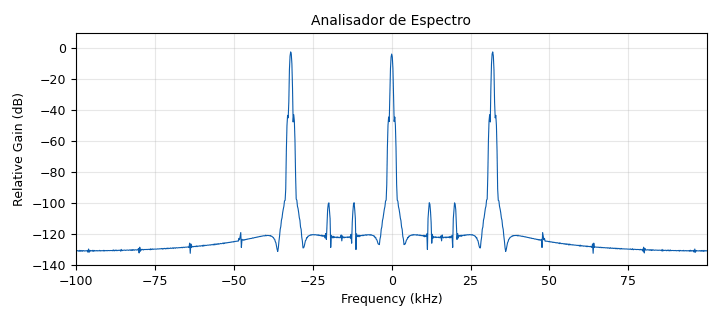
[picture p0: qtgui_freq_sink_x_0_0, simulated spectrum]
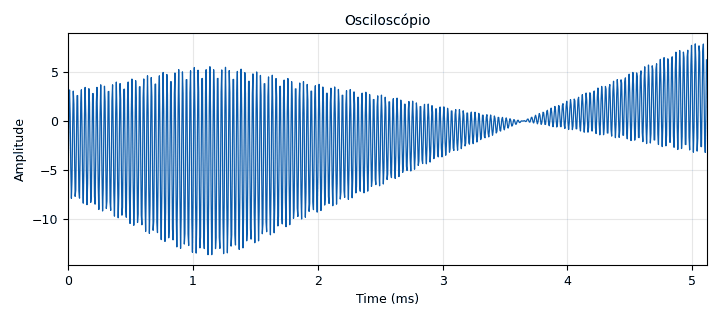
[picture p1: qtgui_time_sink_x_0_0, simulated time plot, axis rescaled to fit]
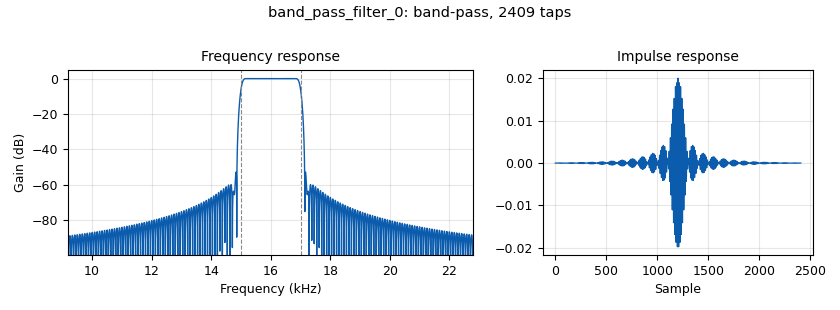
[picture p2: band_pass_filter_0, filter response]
options:
  parameters:
    author: Pedro Dornelas
    generate_options: qt_gui
    id: m180108140_Exp01_AR03
    output_language: python
    title: AR03
  states: {}

blocks:
- name: samp_rate
  id: variable
  parameters:
    value: '200000'
  states: {}
- name: analog_sig_source_x_0
  id: analog_sig_source_x
  parameters:
    amp: '5'
    freq: '6000'
    offset: '0'
    phase: '0'
    samp_rate: samp_rate
    type: float
    waveform: analog.GR_COS_WAVE
  states: {}
- name: analog_sig_source_x_1
  id: analog_sig_source_x
  parameters:
    amp: '2'
    freq: '10000'
    offset: '0'
    phase: '0'
    samp_rate: samp_rate
    type: float
    waveform: analog.GR_COS_WAVE
  states: {}
- name: analog_sig_source_x_1_0
  id: analog_sig_source_x
  parameters:
    amp: '4'
    freq: '16000'
    offset: '0'
    phase: '0'
    samp_rate: samp_rate
    type: float
    waveform: analog.GR_COS_WAVE
  states: {}
- name: analog_sig_source_x_2
  id: analog_sig_source_x
  parameters:
    amp: '2'
    freq: '100'
    offset: '-1'
    phase: '0'
    samp_rate: samp_rate
    type: float
    waveform: analog.GR_TRI_WAVE
  states: {}
- name: band_pass_filter_0
  id: band_pass_filter
  parameters:
    decim: '1'
    gain: '1'
    high_cutoff_freq: '17000'
    low_cutoff_freq: '15000'
    samp_rate: samp_rate
    type: fir_filter_fff
    width: '200'
    win: firdes.WIN_HAMMING
  states: {}
- name: blocks_multiply_xx_0
  id: blocks_multiply_xx
  parameters:
    type: float
  states: {}
- name: blocks_multiply_xx_0_0
  id: blocks_multiply_xx
  parameters:
    type: float
  states: {}
- name: blocks_multiply_xx_0_0_0
  id: blocks_multiply_xx
  parameters:
    type: float
  states: {}
- name: blocks_multiply_xx_0_0_0_0
  id: blocks_multiply_xx
  parameters:
    type: float
  states: {}
- name: blocks_rms_xx_0_0
  id: blocks_rms_xx
  parameters:
    alpha: '0.0001'
    type: float
  states: {}
- name: blocks_throttle_0
  id: blocks_throttle
  parameters:
    samples_per_second: samp_rate
    type: float
  states: {}
- name: blocks_throttle_0_0
  id: blocks_throttle
  parameters:
    samples_per_second: samp_rate
    type: float
  states: {}
- name: blocks_throttle_0_0_0
  id: blocks_throttle
  parameters:
    samples_per_second: samp_rate
    type: float
  states: {}
- name: blocks_throttle_0_0_0_0
  id: blocks_throttle
  parameters:
    samples_per_second: samp_rate
    type: float
  states: {}
- name: low_pass_filter_0
  id: low_pass_filter
  parameters:
    cutoff_freq: '2000'
    decim: '1'
    gain: '0.25'
    samp_rate: samp_rate
    type: fir_filter_fff
    width: '200'
    win: firdes.WIN_HAMMING
  states: {state: disabled}
- name: qtgui_freq_sink_x_0_0
  id: qtgui_freq_sink_x
  parameters:
    bw: samp_rate
    ctrlpanel: 'True'
    fc: '0'
    fftsize: '1024'
    grid: 'True'
    gui_hint: (1,3,2,2)
    name: '"Analisador de Espectro"'
    type: float
    wintype: firdes.WIN_BLACKMAN_hARRIS
  states: {}
- name: qtgui_number_sink_0_0
  id: qtgui_number_sink
  parameters:
    graph_type: qtgui.NUM_GRAPH_HORIZ
    gui_hint: (3,1,1,4)
    label1: Potência
    type: float
  states: {}
- name: qtgui_time_sink_x_0_0
  id: qtgui_time_sink_x
  parameters:
    ctrlpanel: 'True'
    grid: 'True'
    gui_hint: (1,1,2,2)
    label1: ''
    name: Osciloscópio
    size: '1024'
    srate: samp_rate
    tr_mode: qtgui.TRIG_MODE_AUTO
    type: float
    yunit: '"V"'
  states: {}

connections:
- [analog_sig_source_x_0, '0', blocks_throttle_0_0, '0']
- [analog_sig_source_x_1, '0', blocks_throttle_0_0_0, '0']
- [analog_sig_source_x_1_0, '0', blocks_throttle_0_0_0_0, '0']
- [analog_sig_source_x_2, '0', blocks_throttle_0, '0']
- [band_pass_filter_0, '0', blocks_multiply_xx_0_0_0, '0']
- [blocks_multiply_xx_0, '0', blocks_multiply_xx_0_0, '0']
- [blocks_multiply_xx_0_0, '0', band_pass_filter_0, '0']
- [blocks_multiply_xx_0_0_0, '0', blocks_rms_xx_0_0, '0']
- [blocks_multiply_xx_0_0_0, '0', low_pass_filter_0, '0']
- [blocks_multiply_xx_0_0_0, '0', qtgui_freq_sink_x_0_0, '0']
- [blocks_multiply_xx_0_0_0, '0', qtgui_time_sink_x_0_0, '0']
- [blocks_multiply_xx_0_0_0_0, '0', qtgui_number_sink_0_0, '0']
- [blocks_rms_xx_0_0, '0', blocks_multiply_xx_0_0_0_0, '0']
- [blocks_rms_xx_0_0, '0', blocks_multiply_xx_0_0_0_0, '1']
- [blocks_throttle_0, '0', blocks_multiply_xx_0, '0']
- [blocks_throttle_0_0, '0', blocks_multiply_xx_0, '1']
- [blocks_throttle_0_0_0, '0', blocks_multiply_xx_0_0, '1']
- [blocks_throttle_0_0_0_0, '0', blocks_multiply_xx_0_0_0, '1']

metadata:
  file_format: 1
